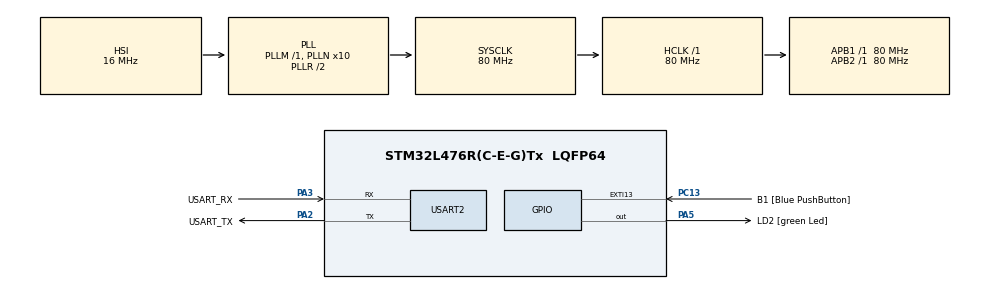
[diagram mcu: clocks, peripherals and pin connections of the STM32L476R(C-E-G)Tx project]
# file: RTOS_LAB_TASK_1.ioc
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FREERTOS.Tasks01=defaultTask,24,128,StartDefaultTask,Default,NULL,Dynamic,NULL,NULL;Blink1Task,24,128,Blink1,Default,NULL,Dynamic,NULL,NULL;Blink2Task,32,128,Blink2,Default,NULL,Dynamic,NULL,NULL;TriggTask,40,128,Trigg,Default,NULL,Dynamic,NULL,NULL;UserbuttonTask,40,128,Userbutton,Default,NULL,Dynamic,NULL,NULL
FREERTOS.configTOTAL_HEAP_SIZE=4000
FREERTOS.configUSE_NEWLIB_REENTRANT=1
Mcu.Family=STM32L4
Mcu.Name=STM32L476R(C-E-G)Tx
Mcu.Package=LQFP64
NVIC.PriorityGroup=NVIC_PRIORITYGROUP_4
NVIC.TIM1_UP_TIM16_IRQn=true\:15\:0\:false\:false\:true\:false\:false\:true\:true
NVIC.TimeBase=TIM1_UP_TIM16_IRQn
NVIC.TimeBaseIP=TIM1
PA13\ (JTMS-SWDIO).GPIO_Label=TMS
PA13\ (JTMS-SWDIO).Mode=Serial_Wire
PA13\ (JTMS-SWDIO).Signal=SYS_JTMS-SWDIO
PA14\ (JTCK-SWCLK).GPIO_Label=TCK
PA14\ (JTCK-SWCLK).Mode=Serial_Wire
PA14\ (JTCK-SWCLK).Signal=SYS_JTCK-SWCLK
PA2.GPIO_Label=USART_TX
PA2.GPIO_Mode=GPIO_MODE_AF_PP
PA2.GPIO_PuPd=GPIO_NOPULL
PA2.GPIO_Speed=GPIO_SPEED_FREQ_VERY_HIGH
PA2.Mode=Asynchronous
PA2.Signal=USART2_TX
PA3.GPIO_Label=USART_RX
PA3.GPIO_Mode=GPIO_MODE_AF_PP
PA3.GPIO_PuPd=GPIO_NOPULL
PA3.GPIO_Speed=GPIO_SPEED_FREQ_VERY_HIGH
PA3.Mode=Asynchronous
PA3.Signal=USART2_RX
PA5.GPIO_Label=LD2 [green Led]
PA5.GPIO_ModeDefaultOutputPP=GPIO_MODE_OUTPUT_PP
PA5.GPIO_PuPd=GPIO_NOPULL
PA5.GPIO_Speed=GPIO_SPEED_FREQ_LOW
PA5.Signal=GPIO_Output
PB3\ (JTDO-TRACESWO).GPIO_Label=SWO
PB3\ (JTDO-TRACESWO).Signal=SYS_JTDO-SWO
PC13.GPIO_Label=B1 [Blue PushButton]
PC13.GPIO_ModeDefaultEXTI=GPIO_MODE_IT_FALLING
PC13.GPIO_PuPd=GPIO_NOPULL
PC13.Signal=GPXTI13
PC14-OSC32_IN\ (PC14).Mode=LSE-External-Oscillator
PC14-OSC32_IN\ (PC14).Signal=RCC_OSC32_IN
PC15-OSC32_OUT\ (PC15).Mode=LSE-External-Oscillator
PC15-OSC32_OUT\ (PC15).Signal=RCC_OSC32_OUT
PH0-OSC_IN\ (PH0).Signal=RCC_OSC_IN
PH1-OSC_OUT\ (PH1).Signal=RCC_OSC_OUT
ProjectManager.HeapSize=0x200
ProjectManager.StackSize=0x400
ProjectManager.TargetToolchain=STM32CubeIDE
RCC.ADCFreq_Value=64000000
RCC.AHBFreq_Value=80000000
RCC.APB1Freq_Value=80000000
RCC.APB1TimFreq_Value=80000000
RCC.APB2Freq_Value=80000000
RCC.APB2TimFreq_Value=80000000
RCC.CortexFreq_Value=80000000
RCC.HCLKFreq_Value=80000000
RCC.HSE_VALUE=8000000
RCC.HSI_VALUE=16000000
RCC.MSI_VALUE=4000000
RCC.PLLN=10
RCC.PLLSourceVirtual=RCC_PLLSOURCE_HSI
RCC.PREFETCH_ENABLE=1
RCC.SYSCLKFreq_VALUE=80000000
RCC.SYSCLKSource=RCC_SYSCLKSOURCE_PLLCLK
RCC.USBFreq_Value=64000000
RCC.VCOOutputFreq_Value=160000000
USART2.VirtualMode-Asynchronous=VM_ASYNC
VP_FREERTOS_VS_CMSIS_V2.Mode=CMSIS_V2
VP_SYS_VS_tim1.Mode=TIM1
board=NUCLEO-L476RG

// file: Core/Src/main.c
/* USER CODE BEGIN Header */
/**
  ******************************************************************************
  * @file           : main.c
  * @brief          : Main program body
  ******************************************************************************
  * @attention
  *
  * Copyright (c) 2024 STMicroelectronics.
  * All rights reserved.
  *
  * This software is licensed under terms that can be found in the LICENSE file
  * in the root directory of this software component.
  * If no LICENSE file comes with this software, it is provided AS-IS.
  *
  ******************************************************************************
  */
/* USER CODE END Header */
#include "main.h"
#include "cmsis_os.h"
#include "usart.h"
#include "gpio.h"

void SystemClock_Config(void);
void MX_FREERTOS_Init(void);

int main(void)
{

  /* MCU Configuration--------------------------------------------------------*/

  /* Reset of all peripherals, Initializes the Flash interface and the Systick. */
  HAL_Init();

  /* Configure the system clock */
  SystemClock_Config();

  /* Initialize all configured peripherals */
  MX_GPIO_Init();
  MX_USART2_UART_Init();

  /* Init scheduler */
  osKernelInitialize();

  /* Call init function for freertos objects (in cmsis_os2.c) */
  MX_FREERTOS_Init();

  /* Start scheduler */
  osKernelStart();

  /* We should never get here as control is now taken by the scheduler */

  /* Infinite loop */
  while (1)
  {

  }
}

void SystemClock_Config(void)
{
  RCC_OscInitTypeDef RCC_OscInitStruct = {0};
  RCC_ClkInitTypeDef RCC_ClkInitStruct = {0};

  /** Configure the main internal regulator output voltage
  */
  if (HAL_PWREx_ControlVoltageScaling(PWR_REGULATOR_VOLTAGE_SCALE1) != HAL_OK)
  {
    Error_Handler();
  }

  /** Initializes the RCC Oscillators according to the specified parameters
  * in the RCC_OscInitTypeDef structure.
  */
  RCC_OscInitStruct.OscillatorType = RCC_OSCILLATORTYPE_HSI;
  RCC_OscInitStruct.HSIState = RCC_HSI_ON;
  RCC_OscInitStruct.HSICalibrationValue = RCC_HSICALIBRATION_DEFAULT;
  RCC_OscInitStruct.PLL.PLLState = RCC_PLL_ON;
  RCC_OscInitStruct.PLL.PLLSource = RCC_PLLSOURCE_HSI;
  RCC_OscInitStruct.PLL.PLLM = 1;
  RCC_OscInitStruct.PLL.PLLN = 10;
  RCC_OscInitStruct.PLL.PLLP = RCC_PLLP_DIV7;
  RCC_OscInitStruct.PLL.PLLQ = RCC_PLLQ_DIV2;
  RCC_OscInitStruct.PLL.PLLR = RCC_PLLR_DIV2;
  if (HAL_RCC_OscConfig(&RCC_OscInitStruct) != HAL_OK)
  {
    Error_Handler();
  }

  /** Initializes the CPU, AHB and APB buses clocks
  */
  RCC_ClkInitStruct.ClockType = RCC_CLOCKTYPE_HCLK|RCC_CLOCKTYPE_SYSCLK
                              |RCC_CLOCKTYPE_PCLK1|RCC_CLOCKTYPE_PCLK2;
  RCC_ClkInitStruct.SYSCLKSource = RCC_SYSCLKSOURCE_PLLCLK;
  RCC_ClkInitStruct.AHBCLKDivider = RCC_SYSCLK_DIV1;
  RCC_ClkInitStruct.APB1CLKDivider = RCC_HCLK_DIV1;
  RCC_ClkInitStruct.APB2CLKDivider = RCC_HCLK_DIV1;

  if (HAL_RCC_ClockConfig(&RCC_ClkInitStruct, FLASH_LATENCY_4) != HAL_OK)
  {
    Error_Handler();
  }
}

void HAL_TIM_PeriodElapsedCallback(TIM_HandleTypeDef *htim)
{
  if (htim->Instance == TIM1) {
    HAL_IncTick();
  }
}

void Error_Handler(void)
{
  __disable_irq();
  while (1)
  {
  }
}

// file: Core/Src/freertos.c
/* USER CODE BEGIN Header */
/**
  ******************************************************************************
  * File Name          : freertos.c
  * Description        : Code for freertos applications
  ******************************************************************************
  * @attention
  *
  * Copyright (c) 2024 STMicroelectronics.
  * All rights reserved.
  *
  * This software is licensed under terms that can be found in the LICENSE file
  * in the root directory of this software component.
  * If no LICENSE file comes with this software, it is provided AS-IS.
  *
  ******************************************************************************
  */
/* USER CODE END Header */

#include "FreeRTOS.h"
#include "task.h"
#include "main.h"
#include "cmsis_os.h"

/* USER CODE BEGIN Includes */
#include <semphr.h>
/* USER CODE END Includes */

/* USER CODE BEGIN Variables */
uint8_t varBlink1 = 0;
uint8_t varBlink2 = 0;
uint8_t varBlink3 = 0;
SemaphoreHandle_t mutex;
uint8_t isBlocked = 0;

/* USER CODE END Variables */
/* Definitions for defaultTask */
osThreadId_t defaultTaskHandle;
const osThreadAttr_t defaultTask_attributes = {
  .name = "defaultTask",
  .stack_size = 128 * 4,
  .priority = (osPriority_t) osPriorityNormal,
};
/* Definitions for Blink1Task */
osThreadId_t Blink1TaskHandle;
const osThreadAttr_t Blink1Task_attributes = {
  .name = "Blink1Task",
  .stack_size = 128 * 4,
  .priority = (osPriority_t) osPriorityNormal,
};
/* Definitions for Blink2Task */
osThreadId_t Blink2TaskHandle;
const osThreadAttr_t Blink2Task_attributes = {
  .name = "Blink2Task",
  .stack_size = 128 * 4,
  .priority = (osPriority_t) osPriorityAboveNormal,
};
/* Definitions for TriggTask */
osThreadId_t TriggTaskHandle;
const osThreadAttr_t TriggTask_attributes = {
  .name = "TriggTask",
  .stack_size = 128 * 4,
  .priority = (osPriority_t) osPriorityHigh,
};
/* Definitions for UserbuttonTask */
osThreadId_t UserbuttonTaskHandle;
const osThreadAttr_t UserbuttonTask_attributes = {
  .name = "UserbuttonTask",
  .stack_size = 128 * 4,
  .priority = (osPriority_t) osPriorityHigh,
};

/* USER CODE BEGIN FunctionPrototypes */
void wait_cycles(uint32_t n);
/* USER CODE END FunctionPrototypes */

void StartDefaultTask(void *argument);
void Blink1(void *argument);
void Blink2(void *argument);
void Trigg(void *argument);
void Userbutton(void *argument);

void MX_FREERTOS_Init(void); /* (MISRA C 2004 rule 8.1) */

void MX_FREERTOS_Init(void) {

  /* USER CODE BEGIN RTOS_MUTEX */
  /* add mutexes, ... */
	mutex = xSemaphoreCreateMutex();
  /* USER CODE END RTOS_MUTEX */

  /* Create the thread(s) */
  /* creation of defaultTask */
  defaultTaskHandle = osThreadNew(StartDefaultTask, NULL, &defaultTask_attributes);

  /* creation of Blink1Task */
  Blink1TaskHandle = osThreadNew(Blink1, NULL, &Blink1Task_attributes);

  /* creation of Blink2Task */
  Blink2TaskHandle = osThreadNew(Blink2, NULL, &Blink2Task_attributes);

  /* creation of TriggTask */
  TriggTaskHandle = osThreadNew(Trigg, NULL, &TriggTask_attributes);

  /* creation of UserbuttonTask */
  UserbuttonTaskHandle = osThreadNew(Userbutton, NULL, &UserbuttonTask_attributes);

}

void StartDefaultTask(void *argument)
{
  for(;;)
  {
    osDelay(1);
  }
}

void Blink1(void *argument)
{
  /* USER CODE BEGIN Blink1 */
	TickType_t xLastWakeTime;
	const TickType_t xPeriod = pdMS_TO_TICKS(10) ; // ms to ticks
	// Initialise the xLastWakeTime variable with the current time.
	xLastWakeTime = xTaskGetTickCount();
	/* Infinite loop */
	for(;;)
	{
	xSemaphoreTake( mutex, portMAX_DELAY );
	wait_cycles(200000);
	if (isBlocked == 0){
	HAL_GPIO_WritePin(LD2_GPIO_Port, LD2_Pin, GPIO_PIN_SET);
	}
	else {
	HAL_GPIO_WritePin(LD2_GPIO_Port, LD2_Pin, GPIO_PIN_RESET);
	}
	xSemaphoreGive( mutex );
	vTaskDelayUntil( &xLastWakeTime, xPeriod );
	}
  /* USER CODE END Blink1 */
}

void Blink2(void *argument)
{
  /* USER CODE BEGIN Blink2 */
	TickType_t xLastWakeTime;
	const TickType_t xPeriod = pdMS_TO_TICKS(20) ; // ms to ticks
	// Initialise the xLastWakeTime variable with the current time.
	xLastWakeTime = xTaskGetTickCount();
	/* Infinite loop */
	for(;;)
	{
	varBlink2 = 1;
	wait_cycles(400000);
	varBlink2 = 0;
	vTaskDelayUntil( &xLastWakeTime, xPeriod );
	}
  /* USER CODE END Blink2 */
}

void Trigg(void *argument)
{
  /* USER CODE BEGIN Trigg */
	TickType_t xLastWakeTime;
	const TickType_t xPeriod = pdMS_TO_TICKS(200) ; // ms to ticks
	// Initialise the xLastWakeTime variable with the current time.
	xLastWakeTime = xTaskGetTickCount();
	/* Infinite loop */
	for(;;)
	{
	vTaskDelayUntil( &xLastWakeTime, xPeriod );
	wait_cycles(10); //add a breakpoint in this line
	}
  /* USER CODE END Trigg */
}

void Userbutton(void *argument)
{
  /* USER CODE BEGIN Userbutton */
	TickType_t xLastWakeTime;
	const TickType_t xPeriod = pdMS_TO_TICKS(20);
	// Initialise the xLastWakeTime variable with the current time.
	xLastWakeTime = xTaskGetTickCount();
	/* Infinite loop */
	for(;;)
	{
	xSemaphoreTake( mutex, portMAX_DELAY );
	if (HAL_GPIO_ReadPin(B1_GPIO_Port, B1_Pin)==GPIO_PIN_RESET)
	{
	isBlocked = 1;
	wait_cycles(250000);
	varBlink3 = 0; }
	else {
		isBlocked = 0;
	}
	xSemaphoreGive( mutex );
	vTaskDelayUntil( &xLastWakeTime, xPeriod );
	}
  /* USER CODE END Userbutton */
}

/* USER CODE BEGIN Application */
void wait_cycles( uint32_t n ) {
uint32_t l = n/3; //cycles per loop is 3
asm volatile( "0:" "SUBS %[count], 1;" "BNE 0b;" :[count]"+r"(l) );
}
/* USER CODE END Application */
